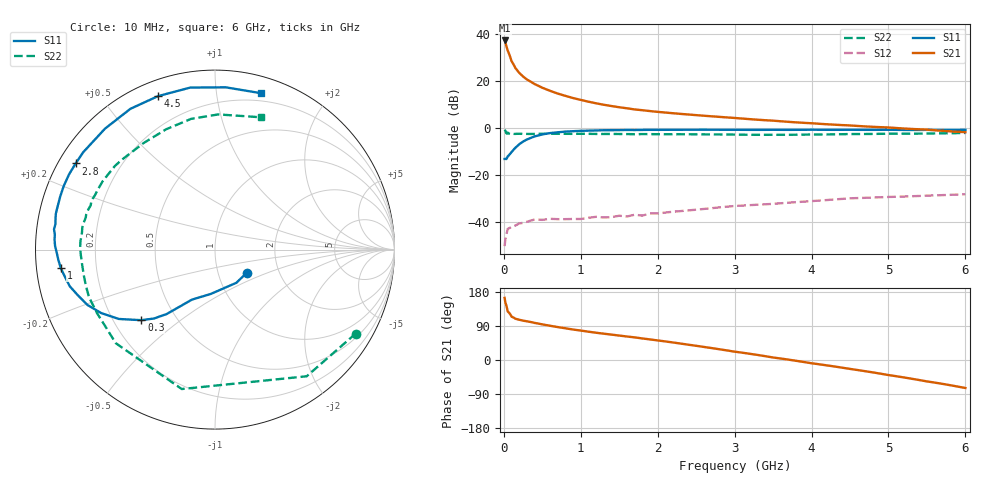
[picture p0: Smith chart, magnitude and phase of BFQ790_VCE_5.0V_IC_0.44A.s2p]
! (c) 2015  Infineon Technologies AG, Munich
! Infineon Technologies  Discrete & RF Semiconductors
! BFQ790
! VCE =  5.0 V,  IC = 0.44 A
! Common Emitter S-Parameters:  May 2015
# GHz  S  MA  R  50
!  f  S11  S21  S12  S22
! GHz  MAG  ANG  MAG  ANG  MAG  ANG  MAG  ANG
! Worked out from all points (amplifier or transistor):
!   77 points, 10 MHz to 6 GHz, reference 50 ohm
!   highest |S21| = 37.1 dB at 10 MHz (marker M1)
!   |S21| within 3 dB of that: start of sweep to 38.5 MHz
!   unconditionally stable (mu >= 1): 134.3 MHz to end of sweep
!   at 130 MHz: K = 0.98, MSG = 34.1 dB, |S12| = -41.6 dB
!   at 2.2 GHz: K = 1.41, MAG = 17.1 dB, |S12| = -35.5 dB
!   at 6 GHz: K = 1.15, MAG = 10.8 dB, |S12| = -28.1 dB
!   S11 on the Smith chart (normalised r, x): 10 MHz: 1.38, -0.37; 300 MHz: 0.32, -0.37; 1 GHz: 0.07, -0.06; 2.8 GHz: 0.05, +0.28; 4.5 GHz: 0.07, +0.69; 6 GHz: 0.13, +1.33
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0.01  0.2194 -35.6  71.52 163.9  0.0031 69.5  0.9131 -30.8
0.02  0.2199 -57.3  64.46 151.4  0.0044 65.1  0.8712 -54.1
0.05  0.248 -95.4  43.74 128.1  0.0072 36.0  0.7986 -103.4
0.1  0.3067 -114.7  26.07 114.4  0.008 23.3  0.7598 -136.6
0.15  0.3787 -122.2  18.6 108.9  0.0085 22.5  0.7465 -151.7
0.2  0.449 -126.9  14.7 106.2  0.0094 24.1  0.7504 -159.4
0.25  0.5125 -131.5  12.31 103.9  0.0097 19.9  0.7469 -164.5
0.3  0.5681 -136.2  10.61 102.1  0.0102 17.1  0.745 -168.5
0.4  0.6607 -144.2  8.5 97.9  0.0114 19.2  0.7452 -173.9
0.5  0.7264 -150.9  7.103 94.0  0.0112 13.0  0.7483 -177.7
0.6  0.7751 -156.6  6.124 90.4  0.0118 18.2  0.7514 179.1
0.8  0.8345 -165.8  4.783 83.7  0.0116 12.1  0.748 174.4
1  0.8653 -173.1  3.924 77.7  0.0117 13.1  0.7496 170.7
1.1  0.8751 -176.4  3.594 74.7  0.0124 16.9  0.7478 168.8
1.5  0.8964 174.6  2.739 64.5  0.0137 18.7  0.7417 163.1
2.1  0.9097 163.3  2.114 49.0  0.016 19.4  0.7337 154.3
2.8  0.9129 148.3  1.714 28.4  0.0206 12.9  0.7267 140.1
3.1  0.9097 141.3  1.576 19.3  0.0225 9.7  0.7174 133.7
4.1  0.912 118.9  1.222 -11.3  0.0287 -5.5  0.7245 109.7
4.5  0.9121 110.4  1.127 -23.5  0.0321 -13.1  0.7406 100.3
5.1  0.9083 96.2  0.994 -42.8  0.0346 -25.7  0.7527 86.5
6  0.9085 73.5  0.812 -73.9  0.0392 -47.1  0.7802 70.8
